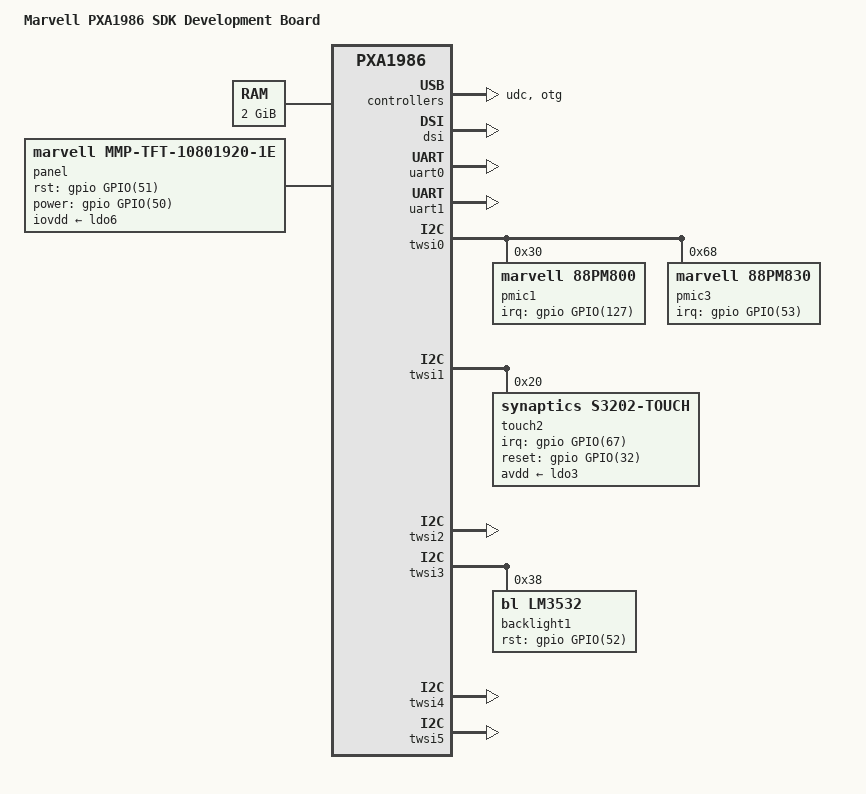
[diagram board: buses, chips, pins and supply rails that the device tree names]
/*
 *  Copyright (C) 2012 Marvell Technology Group Ltd.
 *  Author: Haojian Zhuang <haojian.zhuang@marvell.com>
 *
 *  This program is free software; you can redistribute it and/or modify
 *  it under the terms of the GNU General Public License version 2 as
 *  publishhed by the Free Software Foundation.
 */

/dts-v1/;
/memreserve/ 0x09000000 0x01000000;
#include "pxa1986.dtsi"
#include "regulator.h"
#include <dt-bindings/mmc/pxa_sdhci.h>

#define KEY_MENU	139	/* Menu (show menu) */
#define KEY_HOMEPAGE		172	/* AC Home */
#define KEY_BACK		158	/* AC Back */
#define KEY_VOLUME_UP		115
#define KEY_VOLUME_DOWN		114

/ {
	model = "Marvell PXA1986 SDK Development Board";
	compatible = "mrvl,pxa1986sdk", "mrvl,pxa1986";

	chosen {
		bootargs = "console=ttyS0,115200 root=/dev/nfs nfsroot=192.168.1.100:/nfsroot/ ip=192.168.1.101:192.168.1.100::255.255.255.0::usb0:on";
	};

	memory {
		reg = <0x00000000 0x80000000>;
	};

	gic: interrupt-controller@d0022000 {
		status = "okay";
	};

	soc {
		axi@d4200000 {	/* AXI */
			usbphy: usbphy@d4220000 {
				marvell,udc-name = "mv-udc";
				marvell,otg-name = "mv-otg";
				status = "okay";
			};

			udc: udc@d4208100 {
				status = "okay";
			};

			otg: otg@d4208100 {
				status = "okay";
			};

			dsi: dsi@d420b800 {
				marvell,phy-name = "mmp_dsi1";
				marvell,plat-path-name = "mmp_pnpath";
				marvell,dsi-lanes = <4>;
				marvell,burst-mode = <2>;
				marvell,hbp-en;
				status = "okay";
			};

			vdma: vdma@d427f000 {
				marvell,vdma-num = <4>;
				isram = <&isram_z1>;
				status = "okay";
				vdma1 {
					marvell,vdma-id = <0>;
					marvell,sram-size = <17408>;
					marvell,is_vid = <0>;
				};
				vdma2 {
					marvell,vdma-id = <1>;
					marvell,sram-size = <15360>;
					marvell,is_vid = <0>;
				};
				vdma3 {
					marvell,vdma-id = <2>;
					marvell,sram-size = <17408>;
					marvell,is_vid = <1>;
				};
				vdma4 {
					marvell,vdma-id = <3>;
					marvell,sram-size = <8704>;
					marvell,is_vid = <1>;
				};
			};

			disp: disp@d420b000 {
				marvell,disp-name = "mmp_disp";
				marvell,path-num = <1>;
				status = "okay";
				path1 {
					marvell,path-name = "mmp_pnpath";
					marvell,overlay-num = <2>;
					marvell,overlay-table = <0>, <1>;
					marvell,output-type = <1>;
/* FIXME - Need to check path config */
					marvell,path-config = <0x10>;
					marvell,link-config = <1>;
					pn_sclk_clksrc {
						clksrc = "disp1";
					};
					disp1_clksrc {
						clksrc = "pll1_500";
					};
				};
			};
/* FIXME - need to add when enable camera */
#if 0
			ccic2: ccic@d420a800 {
				pinctrl-names = "default";
				pinctrl-0 = <&ccic2_pins>;
				pwdn-gpios = <&gpio GPIO(13) 0>;
				reset-gpios = <&gpio GPIO(111) 0>;
				fn_parent = "pll1_624";
				af_2v8-supply = <&ldo4>;
				avdd_2v8-supply = <&ldo13>;
				dovdd_1v8-supply = <&voutsw>;
				dvdd_1v2-supply = <&ldo3>;
				status = "okay";
			};
#endif
			fb: fb {
				marvell,fb-name = "mmp_fb";
				marvell,path-name = "mmp_pnpath";
				marvell,overlay-id = <1>;
				marvell,default-pixfmt = <0x108>;
				marvell,buffer-num = <3>;
/* FIXME - Need to check */
				marvell,fb-mem = <0x17000000>;
				status = "okay";
			};

/* FIXME - enable when audio will be enabled */
#if 0
			adma: adma@c0ffd800 {
				status = "okay";
			};
#endif
			sdh1: sdh@d4280000 {
#if 0
				pinctrl-names = "default";
				pinctrl-0 = <&sdh1_pins_pullup &sdh1_pins_pulldn>;
#endif
				bus-width = <8>;
				mrvl,flags = <(
						PXA_FLAG_SD_8_BIT_CAPABLE_SLOT |
						PXA_FLAG_ENABLE_CLOCK_GATING |
						PXA_FLAG_NEW_RX_CFG_REG |
						PXA_FLAG_EN_PM_RUNTIME
						)>;
				non-removable;
				broken-cd;
				/* prop "mrvl,dtr_data": <timing preset_rate src_rate tx_delay rx_delay> */
				mrvl,dtr_data = <0 PXA_SDH_DTR_26M PXA_SDH_DTR_104M 0 0>,	/* MMC_TIMING_LEGACY */
						<2 PXA_SDH_DTR_52M PXA_SDH_DTR_104M 0 0>,	/* MMC_TIMING_MMC_HS */
						<7 PXA_SDH_DTR_52M PXA_SDH_DTR_104M 0x1d8 0x6e>,	/* MMC_TIMING_UHS_DDR50 */
						<9 PXA_SDH_DTR_PS_NONE PXA_SDH_DTR_104M 0 0>;	/* MMC_TIMING_MAX */
				status = "okay";
			};

/* FIXME - add when sd will be enabled */
#if 0
			sdh3: sdh@d4281800 {
				pinctrl-names = "default";
				pinctrl-0 = <&sdh3_pins_pullup &sdh3_pins_pulldn>;
				bus-width = <4>;
				mrvl,clk-delay-cycles = <0x1f>;
				mrvl,flags = <(
						PXA_FLAG_ENABLE_CLOCK_GATING |
						PXA_FLAG_NEW_RX_CFG_REG |
						PXA_FLAG_TX_SEL_BUS_CLK
					     )>;
                                vqmmc-supply    = <&ldo6>;
                                vmmc-supply     = <&ldo10>;
				mrvl,dtr_data = <0 PXA_SDH_DTR_26M PXA_SDH_DTR_104M 0 0>,	/* MMC_TIMING_LEGACY */
						<1 PXA_SDH_DTR_26M PXA_SDH_DTR_104M 0 0>,	/* MMC_TIMING_UHS_SDR12 */
						<4 PXA_SDH_DTR_52M PXA_SDH_DTR_104M 0 0>,	/* MMC_TIMING_UHS_SDR25 */
						<3 PXA_SDH_DTR_52M PXA_SDH_DTR_104M 0 0>,	/* MMC_TIMING_SD_HS */
						<7 PXA_SDH_DTR_52M PXA_SDH_DTR_104M 0 0>,	/* MMC_TIMING_UHS_DDR50 */
						<5 PXA_SDH_DTR_104M PXA_SDH_DTR_104M 0 0>,	/* MMC_TIMING_UHS_SDR50 */
						<9 PXA_SDH_DTR_PS_NONE PXA_SDH_DTR_104M 0 0>;	/* MMC_TIMING_MAX */
                                status = "okay";
                        };
#endif
		};

		axi@f0400000 {
			dec@0xf0400000 {
				marvell,codec-type = <0>;
				marvell,hw-capacity = <0>;
				status = "okay";
			};

			enc@0xf0401000 {
				marvell,codec-type = <2>;
				marvell,hw-capacity = <0>;
				status = "okay";
			};
		};

		apb@d4000000 {
/* FIXME - enable when audio will be enabled */
#if 0
			/* SSPA port 0 */
			sspa0: sspa@c0ffdc00 {
				pinctrl-names = "default"; pinctrl-0 = <&sspa0_pins>;
				status = "okay";
			};
#endif
			/* PDMA Controller 0 */
			pdma0: pdma@d4000000 {
				status = "okay";
			};

			/* UART for AP */
			uart0: uart@d4030000 {
				status = "okay";
			};

			/* UART for GPS */
			uart1: uart@d4017000 {
				status = "okay";
			};

/* FIXME - add when gpio will  be enabled */
#if 0
			gpio: gpio@d4019000 {
				status = "okay";
			};
#endif

			twsi0: i2c@d430b000 {
#if 0
				pinctrl-names = "default"; pinctrl-0 = <&twsi1_pins>;
#endif
				status = "okay";
				pmic1: 88pm822@30 {
					compatible = "marvell,88pm800";
					reg = <0x30>;
					interrupts = <GPIO(127) 0x4>;
					interrupt-parent = <&gpio>;
					interrupt-controller;
					#interrupt-cells = <1>;
					marvell,88pm800-power-page-addr = <0x31>;
					marvell,88pm800-gpadc-page-addr = <0x32>;

					regulators {
						compatible = "marvell,88pm80x-regulator";

						buck1: BUCK1 {PM800_BUCK1;regulator-boot-on;regulator-always-on;};
						buck2: BUCK2 {PM800_BUCK2;regulator-boot-on;regulator-always-on;};
						buck3: BUCK3 {PM800_BUCK3;regulator-boot-on;regulator-always-on;};
						buck4: BUCK4 {PM800_BUCK4;regulator-boot-on;regulator-always-on;};
						buck5: BUCK5 {PM800_BUCK5;regulator-boot-on;regulator-always-on;};
						ldo1: LDO1 {PM800_LDO1;regulator-boot-on;regulator-always-on;};
						ldo2: LDO2 {PM800_LDO2;regulator-boot-on;};
						ldo3: LDO3 {PM800_LDO3;regulator-boot-on;regulator-always-on;};
						ldo4: LDO4 {PM800_LDO4;regulator-boot-on;};
						ldo5: LDO5 {PM800_LDO5;regulator-boot-on;regulator-always-on;};
						ldo6: LDO6 {PM800_LDO6;regulator-boot-on;};
						ldo7: LDO7 {PM800_LDO7;regulator-boot-on;};
						ldo8: LDO8 {PM800_LDO8;regulator-boot-on;};
						ldo9: LDO9 {PM800_LDO9;regulator-boot-on;};
						ldo10: LDO10 {PM800_LDO10;};
						ldo11: LDO11 {PM800_LDO11;regulator-boot-on;};
						ldo12: LDO12 {PM800_LDO12;regulator-boot-on;};
						ldo13: LDO13 {PM800_LDO13;regulator-boot-on;};
						ldo14: LDO14 {PM800_LDO14;regulator-boot-on;regulator-always-on;};
						voutsw: VOUTSW {PM800_VOUTSW;};
					};

					vibrator: vibrator {
						compatible = "marvell,88pm80x-vibrator";
						min_timeout = <10>;
						duty_cycle = <0x3f>;
						marvell,power-supply = <&ldo11>;
					};
				};

				pmic3: 88pm830@68 {
					compatible = "marvell,88pm830";

					/* gpio 4, 5, 75 */
					pinctrl-names = "default";
#if 0
					pinctrl-0 = <&pmic3_pins>;
#endif
					reg = <0x68>;
					interrupt-parent = <&gpio>;
					interrupt-controller;
					interrupts = <GPIO(53) IRQ_TYPE_EDGE_FALLING>;
					#interrupt-cells = <1>;
					/* IRQF_ONESHOT | IRQF_TRIGGER_FALLING */
					marvell,88pm830-irq-flags =  <0x2002>;
					charger {
						compatible = "marvell,88pm830-chg";
						prechg-current = <260>;	/* mA */
						prechg-voltage = <3400>; /* mV */
						prechg-timeout = <16>; /* minute */
						fastchg-eoc = <50>; /* mA */
						fastchg-voltage = <4200>; /* mV */
						fastchg-timeout = <4>; /* hour */
						over-voltage = <4300>; /* mV */
						no-thermal-support = <0>;
						thermal-threshold = <0xf 0xf 0x0 0x0>;
						temp-configure = <0x22>;
						temp-threshold = <150>;
						mppt-weight = <0x2>; /* 25% */
						mppt-period = <0x5>; /* 10ms */
						mppt-start-current = <0xf>; /* 1600mA */

					};

					battery {
						compatible = "marvell,88pm830-bat";
						bat-ntc-support = <1>;
						bat-capacity = <2400>;	/* mAh */
						external-resistor = <200>; /* mohm */
						sleep-period = <1000>; /* second */
						low-threshold = <30>; /* % */
						high-threshold = <50>; /* % */
					};

					usb {
						compatible = "marvell,88pm830-vbus";
						gpadc-number = <1>;
					};
				};
			};

			twsi1: i2c@d4011000 {
#if 0
				pinctrl-names = "default"; pinctrl-0 = <&twsi2_pins>;
#endif
				status = "okay";
				touch2: s3202@20 {
					compatible = "synaptics,s3202-touch";
#if 0
					pinctrl-names = "default"; pinctrl-0 = <&touch_pins>;
#endif
					reg = <0x20>;
					interrupt-parent = <&gpio>;
					interrupts = <GPIO(67) 0x1>;
					/* IRQF_ONESHOT | IRQF_TRIGGER_FALLING */
					synaptics,irq-flags =  <0x2002>;
					synaptics,irq-gpios = <&gpio GPIO(67) 0>;
					synaptics,reset-gpios = <&gpio GPIO(32) 0>;
					synaptics,sensor_res_x = <1080>;
					synaptics,sensor_res_y = <1920>;
					synaptics,sensor_max_x = <1080>;
					synaptics,sensor_max_y = <1920>;
					synaptics,sensor_margin_x = <0>;
					synaptics,sensor_margin_y = <0>;
					synaptics,button_maps = /bits/ 8 <KEY_MENU KEY_HOMEPAGE KEY_BACK>;
					synaptics,num_button = <3>;
					avdd-supply = <&ldo3>;
				};

			};

			twsi2: i2c@d401b000 {
#if 0
				pinctrl-names = "default"; pinctrl-0 = <&twsi3_pins>;
#endif
				status = "okay";
			};

			twsi3: i2c@d4032000 {
#if 0
				pinctrl-names = "default"; pinctrl-0 = <&twsi4_pins>;
#endif
				status = "okay";
				backlight1: lm3532@38 {
					compatible = "bl,lm3532";
					reg = <0x38>;
					flags = <0x10>;
					ramp_time = <0>;
					ctrl_a_fs_current = <0x13>;
					ctrl_a_mapping_mode = <0x2>;
					ctrl_a_pwm = <0x82>;
					rst_gpio = <&gpio GPIO(52) 0>;
				};
			};

			twsi4: i2c@d4033000 {
#if 0
				pinctrl-names = "default"; pinctrl-0 = <&twsi5_pins>;
#endif
				status = "okay";
			};

			twsi5: i2c@d4034000 {
#if 0
				pinctrl-names = "default"; pinctrl-0 = <&twsi6_pins>;
#endif
				status = "okay";
			};

			thermal: thermal@d4013200 {
				status = "okay";
			};

			rtc: rtc@d4086000 {
				status = "okay";
			};

			keypad: keypad@d4085000 {
				marvell,direct-keys;
				marvell,debounce-interval = <30>;
				marvell,direct-key-low-active = <1>;
				marvell,direct-key-count = <2>;
				marvell,direct-key-map = <
					KEY_VOLUME_UP
					KEY_VOLUME_DOWN
				>;
				status = "okay";
			};

/* FIXME - we don't use pinmux in kernel. */
#if 0
			pmx: pinmux@d4320000 {
				status = "okay";
				/* pin base, nr pins & gpio function */
				pinctrl-single,gpio-range = <EDEN_GPIO_PINMUX>;

				uart1_pins: pinmux_uart1_pins {
					pinctrl-single,pins = <P00_UART1_RXD  P01_UART1_TXD
							       P02_UART1_CTS  P03_UART1_RTS>;
					MFP_DEFAULT;
				};

				uart3_pins: pinmux_uart3_pins {
					pinctrl-single,pins = <P33_UART3_RXD P34_UART3_TXD>;
					MFP_DEFAULT;
				};

				uart4_pins: pinmux_uart4_pins {
					pinctrl-single,pins = <P48_UART4_RXD P47_UART4_TXD
								P50_UART4_RTS P49_UART4_CTS>;
					MFP_DEFAULT;
				};

				pwm2_pins: pinmux_pwm2_pins {
					pinctrl-single,pins = <P51_PWM2>;
					MFP_DEFAULT;
				};

				ccic2_pins: pinmux_ccic2_pins {
					pinctrl-single,pins = <P14_CAM_MCLK>;
					MFP_DEFAULT;
				};

				twsi1_pins: pinmux_twsi1_pins {
					pinctrl-single,pins = <P67_PWR_SCL P68_PWR_SDA>;
					MFP_DEFAULT;
				};

				twsi2_pins: pinmux_twsi2_pins {
					pinctrl-single,pins = <P43_TWSI2_SCL P44_TWSI2_SDA>;
					MFP_DEFAULT;
				};

				twsi3_pins: pinmux_twsi3_pins {
					pinctrl-single,pins = <P31_TWSI3_SCL P32_TWSI3_SDA>;
					MFP_DEFAULT;
				};

				twsi4_pins: pinmux_twsi4_pins {
					pinctrl-single,pins = <P46_TWSI4_SCL P45_TWSI4_SDA>;
					MFP_DEFAULT;
				};

				twsi5_pins: pinmux_twsi5_pins {
					pinctrl-single,pins = <P29_TWSI5_SCL P30_TWSI5_SDA>;
					MFP_DEFAULT;
				};

				twsi6_pins: pinmux_twsi6_pins {
					pinctrl-single,pins = <P35_TWSI6_SCL P36_TWSI6_SDA>;
					MFP_DEFAULT;
				};

				sspa0_pins: pinmux_sspa0_pins {
					pinctrl-single,pins = <P20_I2S_SYSCLK P21_I2S_BITCLK
					P22_I2S_SYNC P23_I2S_DATA_OUT P24_I2S_SDATA_IN>;
					DS_SLOW0;PULL_NONE;EDGE_NONE;LPM_NONE;
				};

				pmic3_pins: pinmux_88pm830_pins {
					pinctrl-single,pins = <P75_830_IRQ P04_830_FLASH P05_830_LED_EN>;
					MFP_DEFAULT;
				};

				touch_pins: pinmux_touch_pins {
					pinctrl-single,pins = <P52_TOUCH_IRQ P126_TOUCH_RESET>;
					MFP_DEFAULT;
				};

				sdh1_pins_pullup: pinmux_sdh1_pins_pullup {
					pinctrl-single,pins = <
						P80_MMC3_DAT7
						P81_MMC3_DAT6
						P82_MMC3_DAT5
						P83_MMC3_DAT4
						P84_MMC3_DAT3
						P85_MMC3_DAT2
						P86_MMC3_DAT1
						P87_MMC3_DAT0
						P89_MMC3_CMD
						P90_MMC3_RST
					>;
					MFP_PULL_UP;
				};

				sdh1_pins_pulldn: pinmux_sdh1_pins_pulldn {
					pinctrl-single,pins = <
						P88_MMC3_CLK
					>;
					MFP_PULL_DOWN;
				};

				sdh3_pins_pullup: pinmux_sdh3_pins_pullup {
					pinctrl-single,pins = <
						P59_MMC1_DAT3
						P60_MMC1_DAT2
						P61_MMC1_DAT1
						P62_MMC1_DAT0
						P63_MMC1_CMD
						P65_MMC1_CD_N
						P66_MMC1_WP
					>;
					MFP_PULL_UP;
				};

				sdh3_pins_pulldn: pinmux_sdh3_pins_pulldn {
					pinctrl-single,pins = <
						P64_MMC1_CLK
					>;
					MFP_PULL_DOWN;
				};

			};
#endif
		};

/* FIXME - need to add when audio is enabled */
#if 0
		sound {
			compatible = "marvell,mmp-88ce170-snd-card";
			mrvl,sspa-controllers = <&sspa0>;
		};
#endif
		soc-camera@0 {
			status = "okay";
		};
	};

	ion {
		marvell,ion-nr = <2>;
		status = "okay";
		heap1 {
			marvell,ion-name = "carveout_heap";
			marvell,ion-type = <2>;
			marvell,ion-id = <2>;
			marvell,ion-base = <0x09000000>;
			marvell,ion-size = <0x01000000>;
		};
		heap2 {
			marvell,ion-name = "system_heap";
			marvell,ion-type = <0>;
			marvell,ion-id = <0>;
		};
	};

	ramoops {
		status = "okay";
	};

	panel: tft-10801920-1e {
		compatible = "marvell,mmp-tft-10801920-1e";
		marvell,path-name = "mmp_pnpath";
		rst_gpio = <&gpio GPIO(51) 0>;
		power_gpio = <&gpio GPIO(50) 0>;
		iovdd-supply = <&ldo6>;
		status = "okay";
	};

/* FIXME - need to enable when vpu will be enabled */
#if 0
	dec-devfreq {
		status = "okay";
	};

	enc-devfreq {
		status = "okay";
	};
#endif

/* FIXME - need to enable when coresight will be enabled */
#if 0
	coresight {
		status = "okay";
	};
#endif
};
